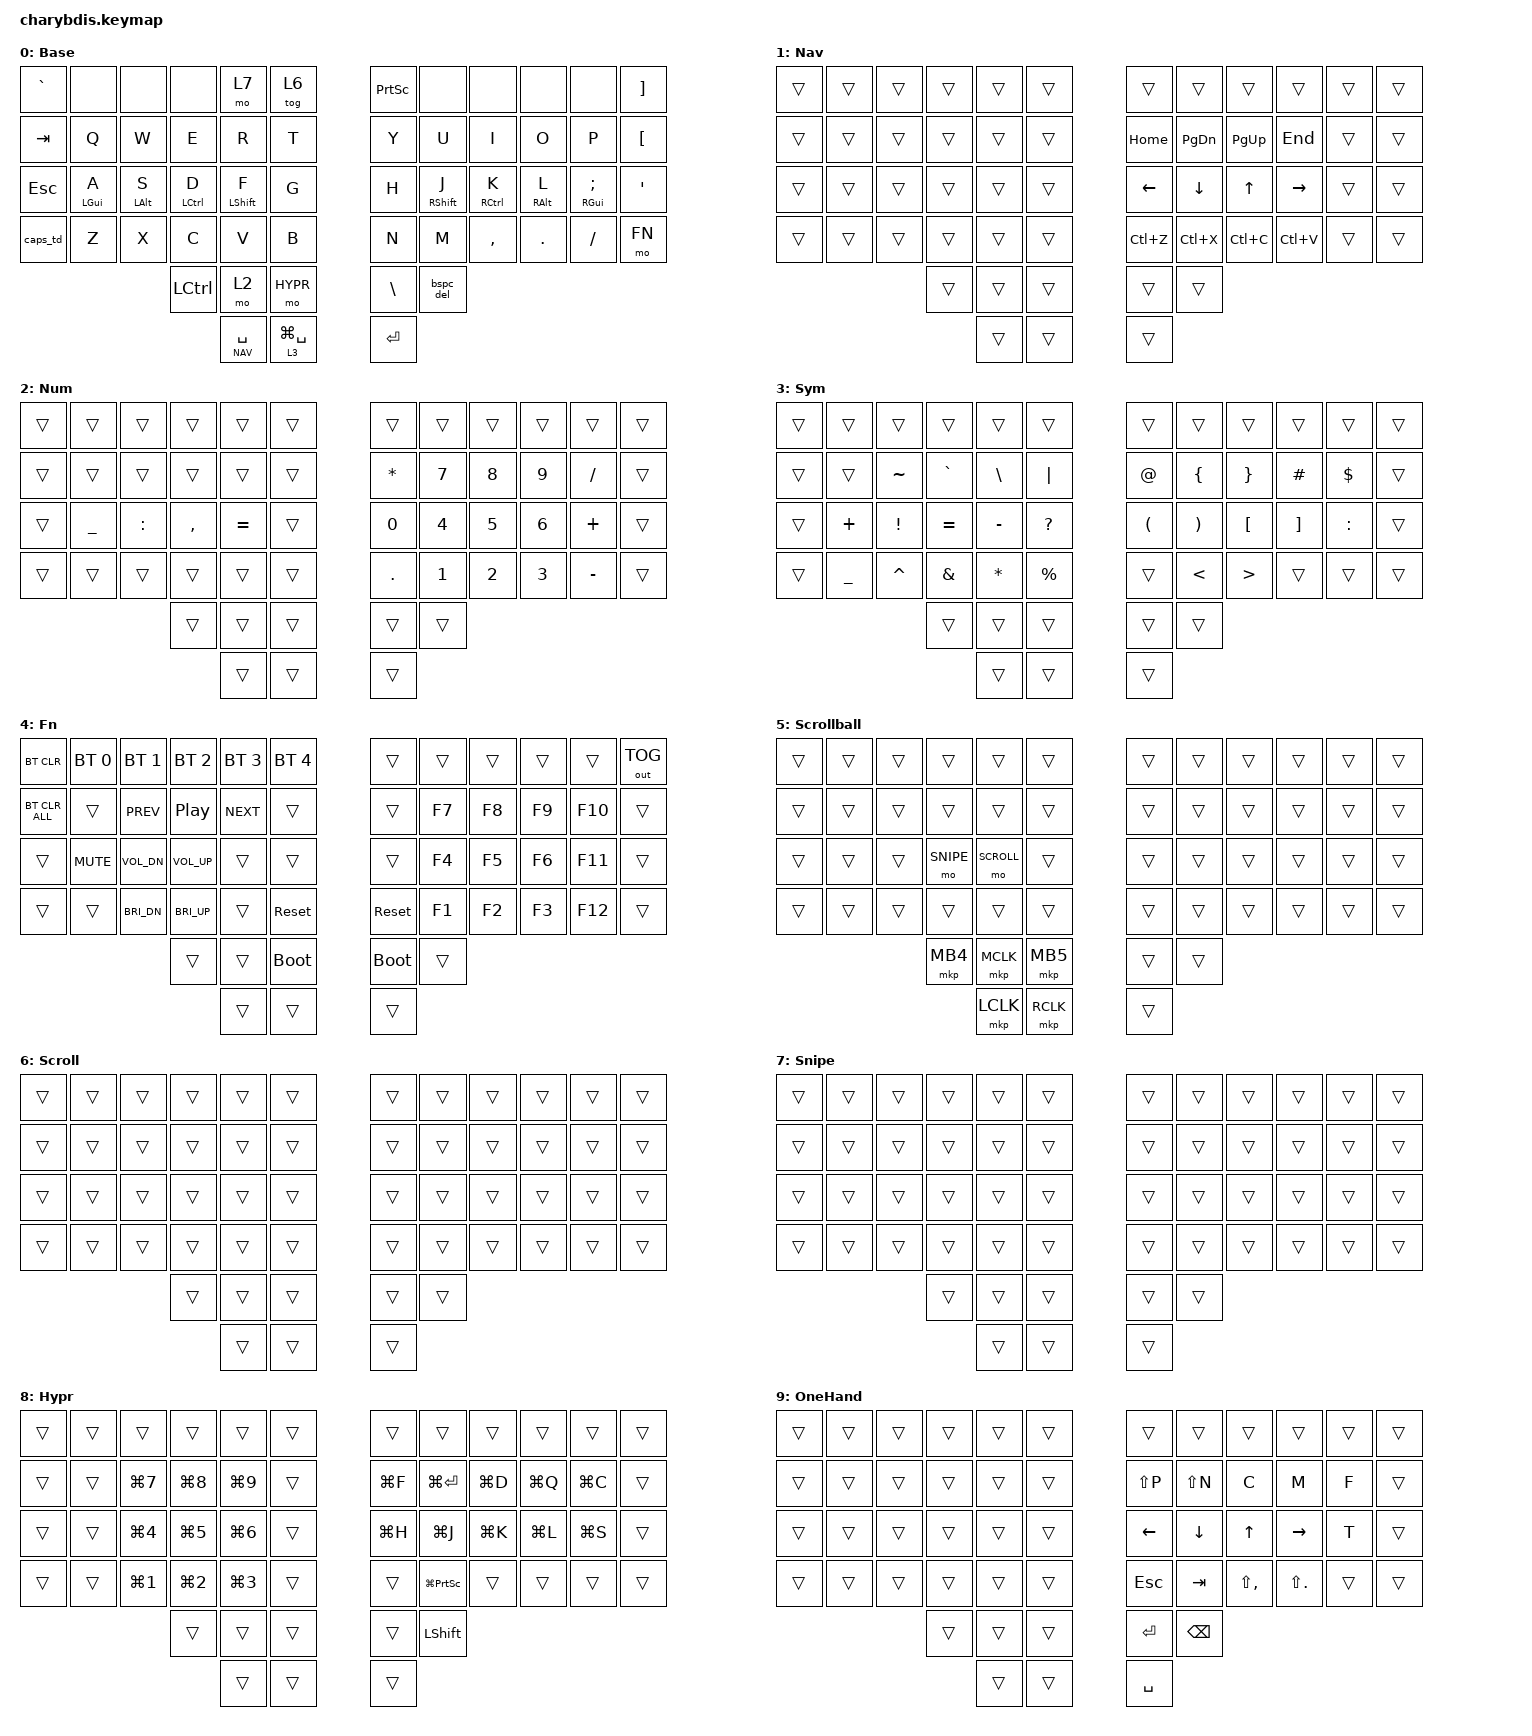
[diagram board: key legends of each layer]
#include <dt-bindings/zmk/mouse.h>
#include <input/processors.dtsi>
#include <zephyr/dt-bindings/input/input-event-codes.h>
#include <behaviors.dtsi>
#include <dt-bindings/zmk/bt.h>
#include <dt-bindings/zmk/keys.h>
#include <dt-bindings/zmk/outputs.h>
#include <dt-bindings/zmk/pointing.h>

#define ZMK_POINTING_DEFAULT_MOVE_VAL 1000
#define ZMK_POINTING_DEFAULT_SCRL_VAL 12
#define BASE   0
#define NAV    1
#define NUM    2
#define SYM    3
#define FN     4
#define MOUSE  5
#define SCROLL 6
#define SNIPE  7
#define HYPR    8
#define ONEHAND 9

&lt {
    tapping-term-ms = <200>;
    flavor = "balanced";
    quick-tap-ms = <150>;
};

&sk {
    release-after-ms = <600>;
    quick-release;
};

&mmv_input_listener { input-processors = <&zip_xy_scaler 2 1>; };

&msc_input_listener { input-processors = <&zip_scroll_scaler 2 1>; };

&msc {
    acceleration-exponent = <0>;
    time-to-max-speed-ms = <100>;
    delay-ms = <0>;
};

&mmv {
    time-to-max-speed-ms = <500>;
    acceleration-exponent = <1>;
    trigger-period-ms = <16>;
};

/ {
    behaviors {
        hml: home_row_mod_left {
            compatible = "zmk,behavior-hold-tap";
            #binding-cells = <2>;
            flavor = "balanced";
            tapping-term-ms = <200>;
            quick-tap-ms = <175>;
            require-prior-idle-ms = <150>;
            bindings = <&kp>, <&kp>;

            hold-trigger-key-positions = <6 7 8 9 10 11 18 19 20 21 22 23 30 31 32 33 34 35 42 43 44 45 46 47 48 49 50 51 52 53 54 55>;
            hold-trigger-on-release;
        };

        hmr: home_row_mod_right {
            compatible = "zmk,behavior-hold-tap";
            #binding-cells = <2>;
            flavor = "balanced";
            tapping-term-ms = <200>;
            quick-tap-ms = <175>;
            require-prior-idle-ms = <150>;
            bindings = <&kp>, <&kp>;

            hold-trigger-key-positions = <0 1 2 3 4 5 12 13 14 15 16 17 24 25 26 27 28 29 36 37 38 39 40 41 48 49 50 51 52 53 54 55>;
            hold-trigger-on-release;
        };

        bspc_del: backspace_delete {
            compatible = "zmk,behavior-mod-morph";
            #binding-cells = <0>;
            bindings = <&kp BSPC>, <&kp DEL>;

            mods = <(MOD_LSFT|MOD_RSFT)>;
        };

        // Умный caps: 1 тап = sticky shift, 2 тапа = Caps Word
        // (капс до конца слова), 3 тапа = Caps Lock (фиксированный).

        caps_td: caps_tap_dance {
            compatible = "zmk,behavior-tap-dance";
            #binding-cells = <0>;
            tapping-term-ms = <200>;
            bindings = <&sk LSHFT>, <&caps_word>, <&kp CAPS>;
        };
    };

    combos {
        compatible = "zmk,combos";

        // One-hand «пульт»: комбо двух правых thumb-клавиш (внешняя Bspc + нижняя)
        // вкл/выкл слой ONEHAND. Работает и на BASE (включить), и на ONEHAND (выключить).
        combo_onehand {
            bindings = <&tog ONEHAND>;
            key-positions = <52 55>;
            timeout-ms = <50>;
            require-prior-idle-ms = <100>;
            layers = <BASE ONEHAND>;
        };

        // Шаблоны для будущих комбо (раскомментируй и подбери позиции):
        // combo_lpar { bindings = <&kp LPAR>; key-positions = <39 40>; timeout-ms = <40>; require-prior-idle-ms = <100>; };
        // combo_rpar { bindings = <&kp RPAR>; key-positions = <40 41>; timeout-ms = <40>; require-prior-idle-ms = <100>; };
    };

    keymap {
        compatible = "zmk,keymap";

        base {
            display-name = "Base";
            bindings = <
&kp GRAVE   &none        &none        &none         &mo 7          &tog 6      &kp PRINTSCREEN  &none         &none         &none        &none           &kp RBKT
&kp TAB     &kp Q        &kp W        &kp E         &kp R          &kp T       &kp Y            &kp U         &kp I         &kp O        &kp P           &kp LBKT
&kp ESCAPE  &hml LGUI A  &hml LALT S  &hml LCTRL D  &hml LSHFT F   &kp G       &kp H            &hmr RSHFT J  &hmr RCTRL K  &hmr RALT L  &hmr RGUI SEMI  &kp SQT
&caps_td    &kp Z        &kp X        &kp C         &kp V          &kp B       &kp N            &kp M         &kp COMMA     &kp DOT      &kp FSLH        &mo FN
                                      &kp LCTRL     &mo 2          &mo HYPR    &kp BSLH         &bspc_del
                                                    &lt NAV SPACE  &lt 3 LG(SPACE)  &kp ENTER
            >;
        };

        nav {
            display-name = "Nav";
            bindings = <
&trans  &trans  &trans  &trans  &trans  &trans    &trans     &trans     &trans     &trans     &trans  &trans
&trans  &trans  &trans  &trans  &trans  &trans    &kp HOME   &kp PG_DN  &kp PG_UP  &kp END    &trans  &trans
&trans  &trans  &trans  &trans  &trans  &trans    &kp LEFT   &kp DOWN   &kp UP     &kp RIGHT  &trans  &trans
&trans  &trans  &trans  &trans  &trans  &trans    &kp LC(Z)  &kp LC(X)  &kp LC(C)  &kp LC(V)  &trans  &trans
                        &trans  &trans  &trans    &trans     &trans
                                &trans  &trans    &trans
            >;
        };

        num {
            display-name = "Num";
            bindings = <
&trans  &trans          &trans     &trans     &trans     &trans    &trans     &trans  &trans  &trans  &trans     &trans
&trans  &trans          &trans     &trans     &trans     &trans    &kp ASTRK  &kp N7  &kp N8  &kp N9  &kp SLASH  &trans
&trans  &kp UNDERSCORE  &kp COLON  &kp COMMA  &kp EQUAL  &trans    &kp N0     &kp N4  &kp N5  &kp N6  &kp PLUS   &trans
&trans  &trans          &trans     &trans     &trans     &trans    &kp DOT    &kp N1  &kp N2  &kp N3  &kp MINUS  &trans
                                   &trans     &trans     &trans    &trans     &trans
                                              &trans     &trans    &trans
            >;
        };

        sym {
            display-name = "Sym";
            bindings = <
&trans  &trans     &trans     &trans     &trans     &trans       &trans      &trans    &trans    &trans      &trans   &trans
&trans  &trans     &kp TILDE  &kp GRAVE  &kp BSLH   &kp PIPE     &kp AT      &kp LBRC  &kp RBRC  &kp HASH    &kp DLLR &trans
&trans  &kp PLUS   &kp EXCL   &kp EQUAL  &kp MINUS  &kp QMARK    &kp LPAR    &kp RPAR  &kp LBKT  &kp RBKT    &kp COLON  &trans
&trans  &kp UNDER  &kp CARET  &kp AMPS   &kp ASTRK  &kp PRCNT    &trans      &kp LESS_THAN  &kp GREATER_THAN  &trans  &trans  &trans
                               &trans        &trans           &trans       &trans  &trans
                                             &trans           &trans       &trans
            >;
        };

        fn {
            display-name = "Fn";
            bindings = <
&bt BT_CLR      &bt BT_SEL 0  &bt BT_SEL 1  &bt BT_SEL 2  &bt BT_SEL 3  &bt BT_SEL 4    &trans      &trans  &trans  &trans  &trans   &out OUT_TOG
&bt BT_CLR_ALL  &trans        &kp C_PREV    &kp C_PP      &kp C_NEXT    &trans          &trans      &kp F7  &kp F8  &kp F9  &kp F10  &trans
&trans          &kp C_MUTE    &kp C_VOL_DN  &kp C_VOL_UP  &trans        &trans          &trans      &kp F4  &kp F5  &kp F6  &kp F11  &trans
&trans          &trans        &kp C_BRI_DN  &kp C_BRI_UP  &trans        &sys_reset      &sys_reset  &kp F1  &kp F2  &kp F3  &kp F12  &trans
                                            &trans        &trans        &bootloader   &bootloader  &trans
                                                          &trans        &trans          &trans
            >;
        };

        mouse {
            display-name = "Scrollball";
            bindings = <
&trans  &trans  &trans  &trans     &trans      &trans       &trans  &trans  &trans  &trans  &trans  &trans
&trans  &trans  &trans  &trans     &trans      &trans       &trans  &trans  &trans  &trans  &trans  &trans
&trans  &trans  &trans  &mo SNIPE  &mo SCROLL  &trans       &trans  &trans  &trans  &trans  &trans  &trans
&trans  &trans  &trans  &trans     &trans      &trans       &trans  &trans  &trans  &trans  &trans  &trans
                        &mkp MB4   &mkp MCLK   &mkp MB5     &trans  &trans
                                   &mkp LCLK   &mkp RCLK    &trans
            >;
        };

        scroll {
            display-name = "Scroll";
            bindings = <
&trans  &trans  &trans  &trans  &trans  &trans    &trans  &trans  &trans  &trans  &trans  &trans
&trans  &trans  &trans  &trans  &trans  &trans    &trans  &trans  &trans  &trans  &trans  &trans
&trans  &trans  &trans  &trans  &trans  &trans    &trans  &trans  &trans  &trans  &trans  &trans
&trans  &trans  &trans  &trans  &trans  &trans    &trans  &trans  &trans  &trans  &trans  &trans
                        &trans  &trans  &trans    &trans  &trans
                                &trans  &trans    &trans
            >;
        };

        snipe {
            display-name = "Snipe";
            bindings = <
&trans  &trans  &trans  &trans  &trans  &trans    &trans  &trans  &trans  &trans  &trans  &trans
&trans  &trans  &trans  &trans  &trans  &trans    &trans  &trans  &trans  &trans  &trans  &trans
&trans  &trans  &trans  &trans  &trans  &trans    &trans  &trans  &trans  &trans  &trans  &trans
&trans  &trans  &trans  &trans  &trans  &trans    &trans  &trans  &trans  &trans  &trans  &trans
                        &trans  &trans  &trans    &trans  &trans
                                &trans  &trans    &trans
            >;
        };

        // Hypr: держишь thumb → клавиши шлют SUPER-комбо. Левая рука = воркспейсы
        // (нумпад W-E-R/S-D-F/X-C-V = 7-9/4-6/1-3), правая = фокус (H/J/K/L) и действия.
        // Правый thumb = Shift: с ним номер/H/L переносят окно (SUPER+SHIFT+...).
        hypr {
            display-name = "Hypr";
            bindings = <
&trans  &trans  &trans      &trans      &trans      &trans    &trans     &trans         &trans     &trans     &trans     &trans
&trans  &trans  &kp LG(N7)  &kp LG(N8)  &kp LG(N9)  &trans    &kp LG(F)  &kp LG(ENTER)  &kp LG(D)  &kp LG(Q)  &kp LG(C)  &trans
&trans  &trans  &kp LG(N4)  &kp LG(N5)  &kp LG(N6)  &trans    &kp LG(H)  &kp LG(J)      &kp LG(K)  &kp LG(L)  &kp LG(S)  &trans
&trans  &trans  &kp LG(N1)  &kp LG(N2)  &kp LG(N3)  &trans    &trans     &kp LG(PRINTSCREEN)  &trans  &trans  &trans     &trans
                                        &trans  &trans  &trans    &trans  &kp LSHFT
                                                        &trans  &trans    &trans
            >;
        };

        // One-hand «пульт» (YouTube): правую половину в руку. Toggle = комбо Bspc+Space.
        // Стрелки = перемотка ±5с / громкость, Space (thumb-низ) = пауза.
        onehand {
            display-name = "OneHand";
            bindings = <
&trans  &trans  &trans  &trans  &trans  &trans    &trans     &trans     &trans  &trans  &trans  &trans
&trans  &trans  &trans  &trans  &trans  &trans    &kp LS(P)  &kp LS(N)  &kp C   &kp M   &kp F   &trans
&trans  &trans  &trans  &trans  &trans  &trans    &kp LEFT   &kp DOWN   &kp UP  &kp RIGHT  &kp T  &trans
&trans  &trans  &trans  &trans  &trans  &trans    &kp ESC    &kp TAB    &kp LS(COMMA)  &kp LS(DOT)  &trans  &trans
                        &trans  &trans  &trans    &kp ENTER  &kp BSPC
                                &trans  &trans    &kp SPACE
            >;
        };
    };
};
